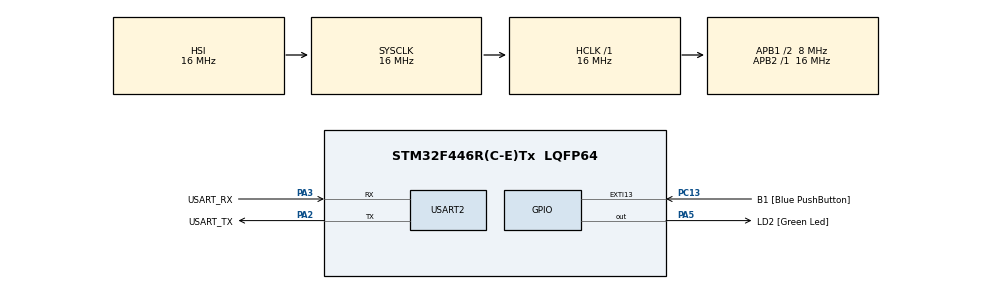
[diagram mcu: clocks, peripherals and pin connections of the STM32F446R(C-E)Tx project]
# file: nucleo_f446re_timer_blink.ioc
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FREERTOS.Tasks01=defaultTask,24,128,StartDefaultTask,Default,NULL,Dynamic,NULL,NULL
FREERTOS.configUSE_NEWLIB_REENTRANT=1
Mcu.Family=STM32F4
Mcu.Name=STM32F446R(C-E)Tx
Mcu.Package=LQFP64
NVIC.PriorityGroup=NVIC_PRIORITYGROUP_4
NVIC.TIM2_IRQn=true\:5\:0\:false\:false\:true\:true\:true\:true\:true
NVIC.USART2_IRQn=true\:5\:0\:false\:false\:true\:true\:true\:true\:true
PA13.GPIO_Label=TMS
PA13.Mode=Serial_Wire
PA13.Signal=SYS_JTMS-SWDIO
PA14.GPIO_Label=TCK
PA14.Mode=Serial_Wire
PA14.Signal=SYS_JTCK-SWCLK
PA2.GPIO_Label=USART_TX
PA2.Mode=Asynchronous
PA2.Signal=USART2_TX
PA3.GPIO_Label=USART_RX
PA3.Mode=Asynchronous
PA3.Signal=USART2_RX
PA5.GPIO_Label=LD2 [Green Led]
PA5.Signal=GPIO_Output
PB3.GPIO_Label=SWO
PB3.Signal=SYS_JTDO-SWO
PC13.GPIO_Label=B1 [Blue PushButton]
PC13.GPIO_ModeDefaultEXTI=GPIO_MODE_IT_FALLING
PC13.Signal=GPXTI13
PC14-OSC32_IN.Mode=LSE-External-Oscillator
PC14-OSC32_IN.Signal=RCC_OSC32_IN
PC15-OSC32_OUT.Mode=LSE-External-Oscillator
PC15-OSC32_OUT.Signal=RCC_OSC32_OUT
PH0-OSC_IN.Mode=HSE-External-Oscillator
PH0-OSC_IN.Signal=RCC_OSC_IN
PH1-OSC_OUT.Mode=HSE-External-Oscillator
PH1-OSC_OUT.Signal=RCC_OSC_OUT
ProjectManager.HeapSize=0x200
ProjectManager.StackSize=0x400
ProjectManager.TargetToolchain=STM32CubeIDE
RCC.48MHZClocksFreq_Value=84000000
RCC.AHBFreq_Value=16000000
RCC.APB1CLKDivider=RCC_HCLK_DIV2
RCC.APB1Freq_Value=8000000
RCC.APB1TimFreq_Value=16000000
RCC.APB2Freq_Value=16000000
RCC.APB2TimFreq_Value=16000000
RCC.CortexFreq_Value=16000000
RCC.FLatency-AdvancedSettings=FLASH_LATENCY_0
RCC.HCLKFreq_Value=16000000
RCC.HSE_VALUE=8000000
RCC.HSI_VALUE=16000000
RCC.PLLN=336
RCC.PLLP=RCC_PLLP_DIV4
RCC.SYSCLKFreq_VALUE=16000000
RCC.USBFreq_Value=168000000
RCC.VCOOutputFreq_Value=336000000
TIM2.Period=500-1
TIM2.Prescaler=16000-1
USART2.VirtualMode=VM_ASYNC
VP_FREERTOS_VS_CMSIS_V2.Mode=CMSIS_V2
VP_TIM2_VS_ClockSourceINT.Mode=Internal
board=NUCLEO-F446RE

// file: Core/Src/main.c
/* USER CODE BEGIN Header */
/**
  ******************************************************************************
  * @file           : main.c
  * @brief          : Main program body
  ******************************************************************************
  * @attention
  *
  * Copyright (c) 2025 STMicroelectronics.
  * All rights reserved.
  *
  * This software is licensed under terms that can be found in the LICENSE file
  * in the root directory of this software component.
  * If no LICENSE file comes with this software, it is provided AS-IS.
  *
  ******************************************************************************
  */
/* USER CODE END Header */
#include "main.h"
#include "cmsis_os.h"

/* USER CODE BEGIN Includes */
#include <string.h>
#include <stdio.h>
#include "sensor.h"

/* ---------------------------------------------------------------------------
 * Firmware Version Information
 * ---------------------------------------------------------------------------
 *
 * Firmware Name : STM32 FreeRTOS CLI Playground
 * Board         : NUCLEO-F446RE
 * MCU           : STM32F446RE (Cortex-M4F)
 *
 * Version History:
 *   v1.0.0  - Basic LED timer using TIM2 (initial bring-up)
 *   v1.1.0  - Added UART2 support + interrupt-driven RX
 *   v1.2.0  - Added simple single-character CLI
 *   v1.3.0  - Added virtual temperature sensor module
 *   v1.4.0  - Added FreeRTOS tasks (LEDTask, SensorTask, CLITask)
 *   v1.5.0  - Added UART mutex for thread-safe logging
 *   v1.6.0  - Added multi-word CLI (help, status, sensor read, log start/stop)
 *   v1.7.0  - Added log queue to decouple logging from CLI input
 *   v1.8.0  - Added 'clear' / 'cls' command to clear terminal
 *   v1.8.1  - Disable SensorTask logging noise
 *
 * Upcoming:
 *   v1.9.0  - Real sensor over I2C (BME280)
 *   v2.0.0  - UART DMA circular buffer (idle line interrupt) + log levels
 *
 * Build Timestamp:
 *   __DATE__  - compile date
 *   __TIME__  - compile time
 *
 * ---------------------------------------------------------------------------
 */
/* USER CODE END Includes */

/* USER CODE BEGIN PTD */

/* Log message type: fixed-size string for log lines */
typedef struct
{
  char text[64];
} LogMessage_t;

/* USER CODE END PTD */

/* USER CODE BEGIN PD */

/* Firmware version macros */
#define FW_VERSION_MAJOR   1
#define FW_VERSION_MINOR   8
#define FW_VERSION_PATCH   1

#define FW_VERSION_STRING  "v1.8.1"
#define FW_BUILD_DATE      __DATE__
#define FW_BUILD_TIME      __TIME__

/* ANSI escape sequence to clear terminal screen and move cursor to home */
#define ANSI_CLEAR_SCREEN  "\033[2J\033[H"

/* USER CODE END PD */

TIM_HandleTypeDef htim2;
UART_HandleTypeDef huart2;

/* USER CODE BEGIN PV */
/* -------------------------------------------------------------------------- */
/* Application RTOS objects                                                   */
/* -------------------------------------------------------------------------- */

/* Single-byte RX buffer for interrupt-driven UART */
uint8_t rx_byte;

/* Logging flag (controlled by CLI 'log start' / 'log stop' or 'l'/'x') */
volatile uint8_t logging_enabled = 0;

/* Task handles */
osThreadId_t ledTaskHandle;
osThreadId_t sensorTaskHandle;
osThreadId_t cliTaskHandle;

/* CLI input queue (ISR → CLI task) */
osMessageQueueId_t cliQueueHandle;

/* Log queue: SensorTask + timer ISR → CLITask */
osMessageQueueId_t logQueueHandle;

/* UART mutex for thread-safe printing from multiple tasks */
osMutexId_t uartMutexHandle;

/* Task attributes */
const osThreadAttr_t ledTask_attributes = {
  .name       = "ledTask",
  .priority   = osPriorityNormal,
  .stack_size = 128 * 4
};

const osThreadAttr_t sensorTask_attributes = {
  .name       = "sensorTask",
  .priority   = osPriorityBelowNormal,
  .stack_size = 256 * 4
};

const osThreadAttr_t cliTask_attributes = {
  .name       = "cliTask",
  .priority   = osPriorityAboveNormal,
  .stack_size = 512 * 4
};

/* Message queue attributes */
const osMessageQueueAttr_t cliQueue_attributes = {
  .name = "cliQueue"
};

const osMessageQueueAttr_t logQueue_attributes = {
  .name = "logQueue"
};

/* UART mutex attributes */
const osMutexAttr_t uartMutex_attributes = {
  .name = "uartMutex"
};

/* USER CODE END PV */

void SystemClock_Config(void);
static void MX_GPIO_Init(void);
static void MX_USART2_UART_Init(void);
static void MX_TIM2_Init(void);

/* USER CODE BEGIN PFP */
/* -------------------------------------------------------------------------- */
/* Private function prototypes (user code)                                    */
/* -------------------------------------------------------------------------- */

/**
 * @brief Thread-safe UART print helper (null-terminated strings).
 */
void uart_print(const char *msg);

/**
 * @brief Single-character UART TX helper (uses same mutex as uart_print).
 */
void uart_write_char(uint8_t c);

/**
 * @brief Legacy single-character CLI handler.
 * @note  Kept for reference; not used by CLITask anymore. New code uses
 *        handle_command_line() with multi-word commands.
 */
void handle_command(uint8_t c);

/**
 * @brief Multi-word CLI command handler.
 * @param line Null-terminated input line, e.g. "sensor read", "log start".
 */
void handle_command_line(const char *line);

/* RTOS task entry functions */
void LEDTask(void *argument);
void SensorTask(void *argument);
void CLITask(void *argument);

/* USER CODE END PFP */

int main(void)
{

  /* MCU Configuration--------------------------------------------------------*/

  /* Reset of all peripherals, Initializes the Flash interface and the Systick. */
  HAL_Init();

  /* Configure the system clock */
  SystemClock_Config();

  /* Initialize all configured peripherals */
  MX_GPIO_Init();
  MX_USART2_UART_Init();
  MX_TIM2_Init();

  /* USER CODE BEGIN 2 */
  /* Start TIM2 base with interrupt (used for optional periodic logging) */
  HAL_TIM_Base_Start_IT(&htim2);
  /* USER CODE END 2 */

  /* Init scheduler */
  osKernelInitialize();

  /* USER CODE BEGIN RTOS_MUTEX */
  /* Create UART mutex for thread-safe printing */
  uartMutexHandle = osMutexNew(&uartMutex_attributes);
  /* USER CODE END RTOS_MUTEX */

  /* USER CODE BEGIN RTOS_QUEUES */
  /* Create CLI message queue (ISR → CLI task) */
  cliQueueHandle = osMessageQueueNew(32, sizeof(uint8_t), &cliQueue_attributes);

  /* Create log message queue (SensorTask / timer → CLITask) */
  logQueueHandle = osMessageQueueNew(16, sizeof(LogMessage_t), &logQueue_attributes);
  /* USER CODE END RTOS_QUEUES */

  /* Create the thread(s) */
  /* USER CODE BEGIN RTOS_THREADS */
  /* Create application tasks */
  ledTaskHandle    = osThreadNew(LEDTask,    NULL, &ledTask_attributes);
  sensorTaskHandle = osThreadNew(SensorTask, NULL, &sensorTask_attributes);
  cliTaskHandle    = osThreadNew(CLITask,    NULL, &cliTask_attributes);

  uart_print("System boot OK\r\n");

  /* Start UART RX interrupt for 1-byte CLI input */
  HAL_UART_Receive_IT(&huart2, &rx_byte, 1);
  /* USER CODE END RTOS_THREADS */

  /* Start scheduler */
  osKernelStart();

  /* We should never get here as control is now taken by the scheduler */

  /* Infinite loop */
  while (1)
  {

  }
}

void SystemClock_Config(void)
{
  RCC_OscInitTypeDef RCC_OscInitStruct = {0};
  RCC_ClkInitTypeDef RCC_ClkInitStruct = {0};

  /** Configure the main internal regulator output voltage
  */
  __HAL_RCC_PWR_CLK_ENABLE();
  __HAL_PWR_VOLTAGESCALING_CONFIG(PWR_REGULATOR_VOLTAGE_SCALE3);

  /** Initializes the RCC Oscillators according to the specified parameters
  * in the RCC_OscInitTypeDef structure.
  */
  RCC_OscInitStruct.OscillatorType = RCC_OSCILLATORTYPE_HSI;
  RCC_OscInitStruct.HSIState       = RCC_HSI_ON;
  RCC_OscInitStruct.HSICalibrationValue = RCC_HSICALIBRATION_DEFAULT;
  RCC_OscInitStruct.PLL.PLLState   = RCC_PLL_NONE;
  if (HAL_RCC_OscConfig(&RCC_OscInitStruct) != HAL_OK)
  {
    Error_Handler();
  }

  /** Initializes the CPU, AHB and APB buses clocks
  */
  RCC_ClkInitStruct.ClockType      = RCC_CLOCKTYPE_HCLK  | RCC_CLOCKTYPE_SYSCLK
                                    | RCC_CLOCKTYPE_PCLK1 | RCC_CLOCKTYPE_PCLK2;
  RCC_ClkInitStruct.SYSCLKSource   = RCC_SYSCLKSOURCE_HSI;
  RCC_ClkInitStruct.AHBCLKDivider  = RCC_SYSCLK_DIV1;
  RCC_ClkInitStruct.APB1CLKDivider = RCC_HCLK_DIV2;
  RCC_ClkInitStruct.APB2CLKDivider = RCC_HCLK_DIV1;

  if (HAL_RCC_ClockConfig(&RCC_ClkInitStruct, FLASH_LATENCY_0) != HAL_OK)
  {
    Error_Handler();
  }
}

static void MX_TIM2_Init(void)
{

  TIM_ClockConfigTypeDef   sClockSourceConfig = {0};
  TIM_MasterConfigTypeDef  sMasterConfig      = {0};

  htim2.Instance           = TIM2;
  htim2.Init.Prescaler     = 16000 - 1;
  htim2.Init.CounterMode   = TIM_COUNTERMODE_UP;
  htim2.Init.Period        = 500 - 1;
  htim2.Init.ClockDivision = TIM_CLOCKDIVISION_DIV1;
  htim2.Init.AutoReloadPreload = TIM_AUTORELOAD_PRELOAD_DISABLE;
  if (HAL_TIM_Base_Init(&htim2) != HAL_OK)
  {
    Error_Handler();
  }

  sClockSourceConfig.ClockSource = TIM_CLOCKSOURCE_INTERNAL;
  if (HAL_TIM_ConfigClockSource(&htim2, &sClockSourceConfig) != HAL_OK)
  {
    Error_Handler();
  }

  sMasterConfig.MasterOutputTrigger = TIM_TRGO_RESET;
  sMasterConfig.MasterSlaveMode     = TIM_MASTERSLAVEMODE_DISABLE;
  if (HAL_TIMEx_MasterConfigSynchronization(&htim2, &sMasterConfig) != HAL_OK)
  {
    Error_Handler();
  }
}

static void MX_USART2_UART_Init(void)
{

  huart2.Instance        = USART2;
  huart2.Init.BaudRate   = 115200;
  huart2.Init.WordLength = UART_WORDLENGTH_8B;
  huart2.Init.StopBits   = UART_STOPBITS_1;
  huart2.Init.Parity     = UART_PARITY_NONE;
  huart2.Init.Mode       = UART_MODE_TX_RX;
  huart2.Init.HwFlowCtl  = UART_HWCONTROL_NONE;
  huart2.Init.OverSampling = UART_OVERSAMPLING_16;
  if (HAL_UART_Init(&huart2) != HAL_OK)
  {
    Error_Handler();
  }

}

static void MX_GPIO_Init(void)
{
  GPIO_InitTypeDef GPIO_InitStruct = {0};

  /* GPIO Ports Clock Enable */
  __HAL_RCC_GPIOC_CLK_ENABLE();
  __HAL_RCC_GPIOH_CLK_ENABLE();
  __HAL_RCC_GPIOA_CLK_ENABLE();
  __HAL_RCC_GPIOB_CLK_ENABLE();

  /*Configure GPIO pin Output Level */
  HAL_GPIO_WritePin(LD2_GPIO_Port, LD2_Pin, GPIO_PIN_RESET);

  /*Configure GPIO pin : B1_Pin */
  GPIO_InitStruct.Pin  = B1_Pin;
  GPIO_InitStruct.Mode = GPIO_MODE_IT_FALLING;
  GPIO_InitStruct.Pull = GPIO_NOPULL;
  HAL_GPIO_Init(B1_GPIO_Port, &GPIO_InitStruct);

  /*Configure GPIO pin : LD2_Pin */
  GPIO_InitStruct.Pin   = LD2_Pin;
  GPIO_InitStruct.Mode  = GPIO_MODE_OUTPUT_PP;
  GPIO_InitStruct.Pull  = GPIO_NOPULL;
  GPIO_InitStruct.Speed = GPIO_SPEED_FREQ_LOW;
  HAL_GPIO_Init(LD2_GPIO_Port, &GPIO_InitStruct);

}

/* USER CODE BEGIN 4 */
/**
  * @brief Period elapsed callback in non-blocking mode.
  * @note  Called from TIM2 interrupt. Here we only queue optional
  *        periodic logging (if logging_enabled == 1). LED blinking
  *        is handled in LEDTask instead.
  */
void HAL_TIM_PeriodElapsedCallback(TIM_HandleTypeDef *htim)
{
  if (htim->Instance == TIM2)
  {
    if (logging_enabled)
    {
      float temp = sensor_read_celsius();

      LogMessage_t logMsg;
      snprintf(logMsg.text, sizeof(logMsg.text), "LOG: %.1f C\r\n", temp);

      /* Best-effort enqueue: do NOT block in ISR */
      (void)osMessageQueuePut(logQueueHandle, &logMsg, 0, 0);
    }
  }
}

/**
  * @brief Thread-safe UART string transmit helper.
  */
void uart_print(const char *msg)
{
  if ((osKernelGetState() == osKernelRunning) && (uartMutexHandle != NULL))
  {
    osMutexAcquire(uartMutexHandle, osWaitForever);
    HAL_UART_Transmit(&huart2, (uint8_t *)msg, strlen(msg), HAL_MAX_DELAY);
    osMutexRelease(uartMutexHandle);
  }
  else
  {
    /* Before RTOS is running, print without mutex */
    HAL_UART_Transmit(&huart2, (uint8_t *)msg, strlen(msg), HAL_MAX_DELAY);
  }
}

/**
  * @brief Thread-safe UART single-character transmit helper.
  */
void uart_write_char(uint8_t c)
{
  if ((osKernelGetState() == osKernelRunning) && (uartMutexHandle != NULL))
  {
    osMutexAcquire(uartMutexHandle, osWaitForever);
    HAL_UART_Transmit(&huart2, &c, 1, HAL_MAX_DELAY);
    osMutexRelease(uartMutexHandle);
  }
  else
  {
    HAL_UART_Transmit(&huart2, &c, 1, HAL_MAX_DELAY);
  }
}

/**
  * @brief UART RX complete callback.
  * @note  Called in ISR context. Only pushes the received byte into
  *        the CLI queue and re-arms the UART.
  */
void HAL_UART_RxCpltCallback(UART_HandleTypeDef *huart)
{
  if (huart->Instance == USART2)
  {
    /* Push received byte into CLI queue (non-blocking) */
    osMessageQueuePut(cliQueueHandle, &rx_byte, 0, 0);

    /* Re-arm RX for next byte */
    HAL_UART_Receive_IT(&huart2, &rx_byte, 1);
  }
}

/**
  * @brief Legacy single-character handler (no longer used by CLITask).
  * @note  Left here for reference. New CLI uses handle_command_line().
  */
void handle_command(uint8_t c)
{
  switch (c)
  {
    case 'h':
      uart_print("\r\nCommands: h=help, t=toggle LED, s=status, r=read, l=start log, x=stop log\r\n");
      break;

    case 't':
      HAL_GPIO_TogglePin(GPIOA, GPIO_PIN_5);
      uart_print("\r\nLED toggled\r\n");
      break;

    case 'r':
    {
      float temp_c = sensor_read_celsius();
      char msg[64];
      snprintf(msg, sizeof(msg), "\r\nSensor value: %.1f C\r\n", temp_c);
      uart_print(msg);
      break;
    }

    case 'l':
      logging_enabled = 1;
      uart_print("\r\nLogging started\r\n");
      break;

    case 'x':
      logging_enabled = 0;
      uart_print("\r\nLogging stopped\r\n");
      break;

    case 's':
      uart_print("\r\nStatus: OK, timer+uart+RTOS running\r\n");
      break;

    default:
      uart_print("\r\nUnknown cmd. Use h for help.\r\n");
      break;
  }
}

/**
  * @brief Multi-word CLI parser.
  * @note  Supports both long forms and legacy short forms:
  *        - "help" or "h"
  *        - "status" or "s"
  *        - "version"
  *        - "clear" or "cls"
  *        - "led toggle" or "t"
  *        - "sensor read" or "r"
  *        - "log start" or "l"
  *        - "log stop" or "x"
  */
void handle_command_line(const char *line)
{
  /* Simple tokenizer: extract up to 3 words */
  char cmd[16]  = {0};
  char arg1[16] = {0};
  char arg2[16] = {0};

  /* Parse: cmd [arg1] [arg2] */
  (void)sscanf(line, "%15s %15s %15s", cmd, arg1, arg2);

  /* help / h */
  if (strcmp(cmd, "h") == 0 || strcmp(cmd, "help") == 0)
  {
    uart_print(
      "\r\nCommands:\r\n"
      "  help                - show this help\r\n"
      "  status              - show system status\r\n"
      "  version             - show firmware version\r\n"
      "  clear / cls         - clear terminal screen\r\n"
      "  led toggle          - toggle LED\r\n"
      "  sensor read         - read sensor once\r\n"
      "  log start           - enable timer-based logging\r\n"
      "  log stop            - disable timer-based logging\r\n"
    );
    return;
  }

  /* status / s */
  if (strcmp(cmd, "s") == 0 || strcmp(cmd, "status") == 0)
  {
    uart_print("\r\nStatus: OK, timer+uart+RTOS running\r\n");
    return;
  }

  /* version */
  if (strcmp(cmd, "version") == 0)
  {
    char buf[128];
    snprintf(buf, sizeof(buf),
             "\r\nFirmware %s\r\nBuilt on %s at %s\r\n",
             FW_VERSION_STRING, FW_BUILD_DATE, FW_BUILD_TIME);
    uart_print(buf);
    return;
  }

  /* clear / cls */
  if (strcmp(cmd, "clear") == 0 || strcmp(cmd, "cls") == 0)
  {
    uart_print(ANSI_CLEAR_SCREEN);
    uart_print("> ");
    return;
  }

  /* t (short form LED toggle) */
  if (strcmp(cmd, "t") == 0)
  {
    HAL_GPIO_TogglePin(GPIOA, GPIO_PIN_5);
    uart_print("\r\nLED toggled\r\n");
    return;
  }

  /* led toggle */
  if (strcmp(cmd, "led") == 0)
  {
    if (strcmp(arg1, "toggle") == 0)
    {
      HAL_GPIO_TogglePin(GPIOA, GPIO_PIN_5);
      uart_print("\r\nLED toggled\r\n");
    }
    else
    {
      uart_print("\r\nUsage: led toggle\r\n");
    }
    return;
  }

  /* r (short form sensor read) */
  if (strcmp(cmd, "r") == 0)
  {
    float temp_c = sensor_read_celsius();
    char msg[64];
    snprintf(msg, sizeof(msg), "\r\nSensor value: %.1f C\r\n", temp_c);
    uart_print(msg);
    return;
  }

  /* sensor read */
  if (strcmp(cmd, "sensor") == 0)
  {
    if (strcmp(arg1, "read") == 0)
    {
      float temp_c = sensor_read_celsius();
      char msg[64];
      snprintf(msg, sizeof(msg), "\r\nSensor value: %.1f C\r\n", temp_c);
      uart_print(msg);
    }
    else
    {
      uart_print("\r\nUsage: sensor read\r\n");
    }
    return;
  }

  /* log start / l */
  if (strcmp(cmd, "l") == 0 || (strcmp(cmd, "log") == 0 && strcmp(arg1, "start") == 0))
  {
    logging_enabled = 1;
    uart_print("\r\nLogging started\r\n");
    return;
  }

  /* log stop / x */
  if (strcmp(cmd, "x") == 0 || (strcmp(cmd, "log") == 0 && strcmp(arg1, "stop") == 0))
  {
    logging_enabled = 0;
    uart_print("\r\nLogging stopped\r\n");
    return;
  }

  /* If we reach here, command not recognized */
  uart_print("\r\nUnknown command. Type 'help' for a list of commands.\r\n");
}

/**
  * @brief LED task
  * @note  Blinks LD2 every 500 ms as a heartbeat.
  */
void LEDTask(void *argument)
{
  (void)argument;

  for (;;)
  {
    HAL_GPIO_TogglePin(GPIOA, GPIO_PIN_5);  /* LD2 */
    osDelay(500);                           /* 500 ms */
  }
}

/**
  * @brief Sensor task
  * @note  Periodically reads the virtual sensor.
  *        Logging is now handled only by:
  *          - TIM2 ISR (when logging_enabled = 1)
  *          - On-demand CLI command: "sensor read"
  *        This keeps the CLI output clean (no background RTOS LOG spam).
  */
void SensorTask(void *argument)
{
  (void)argument;

  sensor_init();

  for (;;)
  {
    float temp = sensor_read_celsius();
    (void)temp;          /* Value can be used internally later if needed */

    //LogMessage_t logMsg;
    //snprintf(logMsg.text, sizeof(logMsg.text), "RTOS LOG: %.1f C\r\n", temp);

    /* Non-blocking log enqueue; if queue is full, drop the log */
    //(void)osMessageQueuePut(logQueueHandle, &logMsg, 0, 0);

    osDelay(1000);       /* 1 s */
  }
}

/**
  * @brief CLI task
  * @note  Owns the UART for both logs and CLI output.
  *        - Drains logQueue and prints log messages.
  *        - Handles interactive CLI with line editing and prompt.
  */
void CLITask(void *argument)
{
  (void)argument;

  uint8_t c;
  char line_buf[64];
  uint16_t line_len = 0;

  LogMessage_t logMsg;

  uart_print("\r\nCLI Ready\r\n> ");

  for (;;)
  {
    /* ----------------------------------------------------------------------
     * 1) Drain any pending log messages first (non-blocking)
     * -------------------------------------------------------------------- */
    while (osMessageQueueGet(logQueueHandle, &logMsg, NULL, 0) == osOK)
    {
      /* Move to a fresh line, print the log, then redraw the prompt + input */
      uart_print("\r\n");
      uart_print(logMsg.text);

      uart_print("> ");
      if (line_len > 0)
      {
        /* Re-print whatever the user has typed so far */
        uart_print(line_buf);
      }
    }

    /* ----------------------------------------------------------------------
     * 2) Wait for next CLI character with a short timeout
     *    This lets us regularly check the log queue too.
     * -------------------------------------------------------------------- */
    if (osMessageQueueGet(cliQueueHandle, &c, NULL, 50) == osOK)
    {
      /* Handle newline (Enter) */
      if (c == '\r' || c == '\n')
      {
        uart_print("\r\n");

        if (line_len > 0)
        {
          line_buf[line_len] = '\0';   /* null-terminate */
          handle_command_line(line_buf);
          line_len = 0;
        }

        uart_print("> ");
        continue;
      }

      /* Handle backspace (ASCII 8 or 127) */
      if (c == 0x08 || c == 0x7F)
      {
        if (line_len > 0)
        {
          line_len--;
          /* Erase character on terminal: backspace, space, backspace */
          uart_print("\b \b");
        }
        continue;
      }

      /* Printable characters only, with bounds check */
      if (line_len < (sizeof(line_buf) - 1) && c >= 32 && c < 127)
      {
        line_buf[line_len++] = (char)c;
        uart_write_char(c);  /* echo */
      }
      /* else: ignore (buffer full or non-printable) */
    }
    /* else: timeout, loop again, process logs if any */
  }
}
/* USER CODE END 4 */

//void StartDefaultTask(void *argument)
//{
//  /* USER CODE BEGIN 5 */
  /* Infinite loop */
//  for(;;)
//  {
//    osDelay(1);
//  }
  /* USER CODE END 5 */
//}

void Error_Handler(void)
{
  __disable_irq();
  while (1)
  {
  }
}
